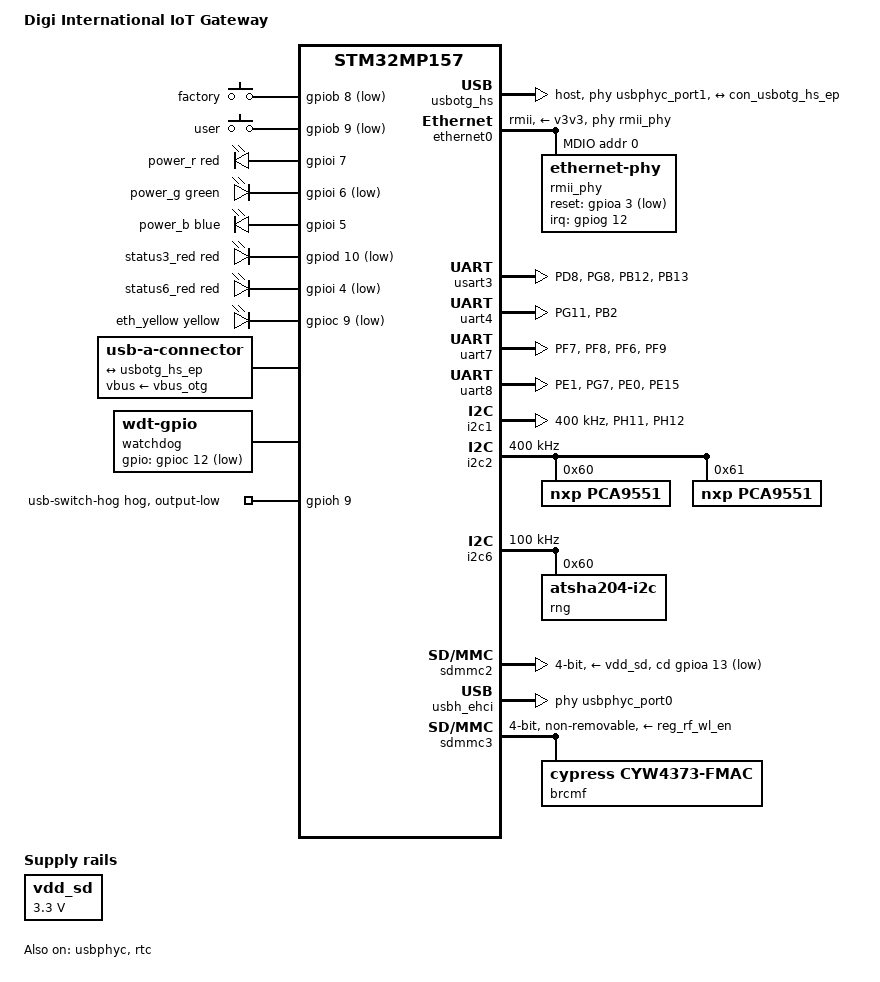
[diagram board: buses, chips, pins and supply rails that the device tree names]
/*
* Copyright 2024, Digi International Inc.
*
* Permission to use, copy, modify, and/or distribute this software for any
* purpose with or without fee is hereby granted, provided that the above
* copyright notice and this permission notice appear in all copies.
* THE SOFTWARE IS PROVIDED "AS IS" AND THE AUTHOR DISCLAIMS ALL WARRANTIES
* WITH REGARD TO THIS SOFTWARE INCLUDING ALL IMPLIED WARRANTIES OF
* MERCHANTABILITY AND FITNESS. IN NO EVENT SHALL THE AUTHOR BE LIABLE FOR
* ANY SPECIAL, DIRECT, INDIRECT, OR CONSEQUENTIAL DAMAGES OR ANY DAMAGES
* WHATSOEVER RESULTING FROM LOSS OF USE, DATA OR PROFITS, WHETHER IN AN
* ACTION OF CONTRACT, NEGLIGENCE OR OTHER TORTIOUS ACTION, ARISING OUT OF
* OR IN CONNECTION WITH THE USE OR PERFORMANCE OF THIS SOFTWARE.
*/

/dts-v1/;

/* STM32MP157 CPU */
#include "stm32mp157.dtsi"
#include "stm32mp151-dey-changes.dtsi"
#include "stm32mp15xa.dtsi"
#include "stm32mp15-pinctrl.dtsi"
#include "stm32mp15xxac-pinctrl.dtsi"
#include "stm32mp15-scmi.dtsi"
/* Digi ConnectCore CCMP15 */
#include "ccmp15.dtsi"
#include <dt-bindings/input/input.h>
#include <dt-bindings/leds/common.h>
#include <dt-bindings/leds/leds-pca955x.h>

/*
 * Quick reference:
 * usart1: BT_UART (*)
 * usart3: XBEE1
 * uart4: CONSOLE (*)
 * uart7: UART (RS-232/RS-485)
 * uart8: XBEE2
 * i2c1: I2C_USER (SDA=PH12 AF5, SCL=PH11 AF5)
 * i2c2: I2C_INT (status LEDs, and TBD)
 * i2c4: PMIC (*)
 * i2c6: ATECC
 * sdmmc2: micro SD
 * sdmmc3: Wi-Fi (*)
 * eth1: 10/100 Ethernet (* - ethernet0)
 * USB host: Connected to "XBee 2" (for XBee 3 Cellular)
 * USB OTG: Connected to USB-A port if USB_USER#/FW is high and USB_OTG_SW_OE# is low.
 *          Connected to microUSB/TAG-Connect if USB_USER#/FW is low and USB_OTG_SW_OE# is low.
 *          Disconnected if USB_OTG_SW_OE# is driven high.
 * Items marked (*) are standard as defined in ccmp15.dtsi.
 */

#if 1
// Make it easier to tell which peripheral is which
#define DIGI_COMMENT(text) digi,comment = text
#else
#define DIGI_COMMENT(text)
#endif

/ {
	model = "Digi International IoT Gateway";
	compatible = "digi,iot-gateway";
	digi,machine,name = "iot-gateway";

	chosen {
		stdout-path = "serial0:115200n8";
	};

	aliases {
		ethernet0 = &ethernet0;
		mmc1 = &sdmmc2; /* Micro SD */
		serial0 = &uart4; /* CONSOLE */
		serial1 = &usart1; /* BT_UART */
		serial2 = &usart3; /* XBEE1 */
		serial3 = &uart8; /* XBEE2 */
		serial4 = &uart7; /* RS-232/485 */
	};

	gpio-keys {
		compatible = "gpio-keys";

		factory-button {
			label = "factory";
			linux,code = <KEY_DELETE>;
			gpios = <&gpiob 8 GPIO_ACTIVE_LOW>;
			// TODO: pinctrl
		};

		user-button {
			label = "user";
			linux,code = <KEY_SELECT>;
			gpios = <&gpiob 9 GPIO_ACTIVE_LOW>;
			// TODO: pinctrl
		};
	};

	leds {
		compatible = "gpio-leds";

		/* NOTE: Supplying color and function here lets the kernel
		 * automatically name these e.g. "red:power" in sysfs. */
		power_r {
			color = <LED_COLOR_ID_RED>;
			function = LED_FUNCTION_POWER;
			gpios = <&gpioi 7 GPIO_ACTIVE_HIGH>; /* LGA_A14, LTDC_B7 */
		};
		power_g {
			color = <LED_COLOR_ID_GREEN>;
			function = LED_FUNCTION_POWER;
			/*
			 * This line controls a MOSFET which in turn controls the MOSFET
			 * giving this color a path to GND. The second MOSFET's gate
			 * is pulled up (so green is on by default). Thus, from the
			 * chip's perspective, green is active low, since driving this high
			 * will switch it off.
			 */
			gpios = <&gpioi 6 GPIO_ACTIVE_LOW>; /* LGA_A20, LTDC_B6 */
		};
		power_b {
			color = <LED_COLOR_ID_BLUE>;
			function = LED_FUNCTION_POWER;
			gpios = <&gpioi 5 GPIO_ACTIVE_HIGH>; /* LGA_A17, LTDC_B5 */
			default-state = "on";
		};
		status3_red {
			color = <LED_COLOR_ID_RED>;
			function = LED_FUNCTION_STATUS;
			function-enumerator = <3>;
			gpios = <&gpiod 10 (GPIO_ACTIVE_LOW | GPIO_OPEN_DRAIN)>; /* LGA_A10, LTDC_B3 */
		};
		status6_red {
			color = <LED_COLOR_ID_RED>;
			function = LED_FUNCTION_STATUS;
			function-enumerator = <6>;
			gpios = <&gpioi 4 (GPIO_ACTIVE_LOW | GPIO_OPEN_DRAIN)>; /* LGA_A12, LTDC_B4 */
		};
		eth_yellow {
			color = <LED_COLOR_ID_YELLOW>;
			function = LED_FUNCTION_LAN;
			gpios = <&gpioc 9 (GPIO_ACTIVE_LOW | GPIO_OPEN_DRAIN)>;
			trigger-sources = <&ethernet0>;
			linux,default-trigger = "stmmac-0:00:link";
		};
	};

	usb_phy_tuning: usb-phy-tuning {
		st,hs-dc-level = <2>;
		st,fs-rftime-tuning;
		st,hs-rftime-reduction;
		st,hs-current-trim = <15>;
		st,hs-impedance-trim = <1>;
		st,squelch-level = <3>;
		st,hs-rx-offset = <2>;
		st,no-lsfs-sc;
	};

	usb-a-connector {
		compatible = "usb-a-connector";
		// id-gpios = <&gpioa 10 GPIO_ACTIVE_HIGH>; /* LGA_AA13, USB_OTG_ID - wired to GND */
		// No vbus-gpios - wired directly to OTG_VBUS line of MPU
		vbus-supply = <&vbus_otg>;

		port {
			con_usbotg_hs_ep: endpoint {
				remote-endpoint = <&usbotg_hs_ep>;
			};
		};
	};

	watchdog {
		/* STWD100NYWY3F */
		compatible = "linux,wdt-gpio";
		gpios = <&gpioc 12 GPIO_ACTIVE_LOW>; /* LGA_W15 */
		hw_algo = "toggle";
		hw_margin_ms = <1000>; /* tWD 1.12 to 2.24s, typical 1.6s */
		always-running;
	};
};
/delete-node/ &gpu_reserved;

/*
 * Modify the cpu0_opp_table to delete the "opp-supported-hw" property.
 *
 * This value is set by the optional stm32-cpufreq driver.
 * Since we do not plan on changing the cpu frequencies of the chip,
 * we are NOT using that driver.
 * Because it is not being used, the "opp-supported-hw" entry is
 * not needed, and must be removed.
 */
&cpu0_opp_table {
	opp-650000000 {
		/delete-property/ opp-supported-hw;
	};
};

&gpiob {
	/* PB8: SW_ERASE. PB9: SW_USER. */
	gpio-line-names = "", "", "", "", "", "", "", "",
			  "factory", "user_button", "", "", "", "", "", "";
};
&gpiod {
	/* PD3: DEV/nPROD. */
	gpio-line-names = "", "", "", "developer", "", "", "", "",
			  "", "", "", "", "", "", "", "";
};
&gpiof {
	/* PF10: XBEE2_PWR_EN. */
	gpio-line-names = "", "", "", "", "", "", "", "",
			  "", "", "XBEE2_PWR_EN", "", "", "", "", "";
};
&gpiog {
	/* PG0: XBEE1_PWR_EN. PG2: XBEE1_nRST. */
	gpio-line-names = "XBEE1_PWR_EN", "", "XBEE1_nRST", "", "", "", "", "",
			  "", "", "", "", "", "", "", "";
};
&gpioh {
	/* PH8: XBEE2_nRST. PH9: USB_USER#/FW. PH10: USB_OTG_SW_OE#. */
	gpio-line-names = "", "", "", "", "", "", "", "",
			  "XBEE2_nRST", "USB_nUSER_FW", "USB_OTG_SW_nOE", "", "", "", "", "";
	usb-switch-hog {
		gpio-hog;
		gpios = <9 GPIO_OPEN_DRAIN>;
		output-low;
	};
};

&usbotg_hs {
	dr_mode = "host";
};

/* TODO: Overlay to enable usart1 (Bluetooth) if wireless variant */
/* USART1 (Bluetooth) */
&usart1 {
	// status = "okay";
	DIGI_COMMENT("ble");
};

/* 10/100 Ethernet */
&ethernet0 {
	status = "okay";
	pinctrl-names = "default", "sleep";
	pinctrl-0 = <&ethernet0_rmii_pins_c>;
	pinctrl-1 = <&ethernet0_rmii_sleep_pins_c>;
	phy-mode = "rmii";
	max-speed = <100>;
	phy-handle = <&rmii_phy>;
	phy-supply = <&v3v3>;
	// TODO?!?! How do we define which pin the clock comes in on?
	st,ext-phyclk;

	mdio0 {
		#address-cells = <1>;
		#size-cells = <0>;
		compatible = "snps,dwmac-mdio";

		/* Microchip KSZ8081RNA PHY */
		rmii_phy: ethernet-phy@0 {
			reg = <0>;
			interrupts-extended = <&gpiog 12 IRQ_TYPE_LEVEL_LOW>; /* LGA_Y3, LTDC_B1 */
			reset-gpios = <&gpioa 3 GPIO_ACTIVE_LOW>; /* LGA_A18, LTDC_B2 */
			reset-assert-us = <10000>;
			reset-deassert-us = <300>;
		};
	};
};

/* SMT XBee */
&usart3 {
	pinctrl-names = "default", "sleep", "idle", "no-hw-flowctrl", "gpio";
	pinctrl-0 = <&ccmp15_usart3_pins>;
	pinctrl-1 = <&ccmp15_usart3_sleep_pins>;
	pinctrl-2 = <&ccmp15_usart3_idle_pins>;
	pinctrl-3 = <&ccmp15_usart3_no_hw_flowctrl_pins>;
	pinctrl-4 = <&ccmp15_usart3_gpio_pins>;
	uart-has-rtscts;
	digi,long-break;
	digi,no-hw-flowctrl;
	// Controlled as GPIO when RTS state is set manually (rtscts disabled).
	digi,rts-gpios = <&gpiog 8 GPIO_ACTIVE_LOW>; /* LGA_N21, USART3_RTS */
	// TODO: Confirm this means if we deassert DTR, it's driven or pulled high.
	dtr-gpios = <&gpiob 10 GPIO_ACTIVE_LOW>; /* LGA_J21, ETH1_RX_ER */
	status = "okay";
	DIGI_COMMENT("xbee1");
};

&spi4 {
	pinctrl-names = "default", "sleep";
	pinctrl-0 = <&spi4_pins_b>;
	pinctrl-1 = <&spi4_sleep_pins_b>;
	cs-gpios = <&gpioe 11 GPIO_ACTIVE_LOW>; /* LGA_Y9, SPI4_NSS */
	status = "disabled"; /* Disabled until needed */
	DIGI_COMMENT("xbee1_SPI");

	spidev@0 {
		compatible = "rohm,dh2228fv";
		reg = <0>; /* CS #0 */
		spi-max-frequency = <50000000>;
	};
};

/* Console */
&uart4 {
	pinctrl-names = "default", "sleep", "idle";
	pinctrl-0 = <&ccmp15_uart4_pins_a>;
	pinctrl-1 = <&uart4_sleep_pins_a>;
	pinctrl-2 = <&ccmp15_uart4_idle_pins_a>;
	/delete-property/dmas;
	/delete-property/dma-names;
	status = "okay";
	DIGI_COMMENT("console");
};

/* RS-232/RS-485 */
&uart7 {
	// TODO(LCG-603): Switching between 232 and 485
	linux,rs485-enabled-at-boot-time;
	pinctrl-names = "default", "sleep", "idle", "no-hw-flowctrl", "gpio";
	pinctrl-0 = <&ccmp15_uart7_pins>;
	pinctrl-1 = <&ccmp15_uart7_sleep_pins>;
	pinctrl-2 = <&ccmp15_uart7_idle_pins>;
	pinctrl-3 = <&ccmp15_uart7_no_hw_flowctrl_pins>;
	pinctrl-4 = <&ccmp15_uart7_gpio_pins>;
	uart-has-rtscts;
	digi,long-break;
	digi,no-hw-flowctrl;
	// Controlled as GPIO when RTS state is set manually (rtscts disabled).
	digi,rts-gpios = <&gpiof 8 GPIO_ACTIVE_LOW>; /* LGA_P19, UART7_RTS */
	// TODO: Are we supposed to call these out in pinctrl?
	dsr-gpios = <&gpioc 3 GPIO_ACTIVE_LOW>; /* LGA_V19 */
	dcd-gpios = <&gpiob 0 GPIO_ACTIVE_LOW>; /* LGA_U20 */
	dtr-gpios = <&gpiob 6 GPIO_ACTIVE_LOW>; /* LGA_U19 */
	rng-gpios = <&gpioc 11 GPIO_ACTIVE_LOW>; /* LGA_T19 */

	// TODO: RS485_TERM - kernel seems to support defining rs485-term-gpios,
	// but no existing .dts files appear to use that.
	status = "okay";
	DIGI_COMMENT("rs232,485");
};

/* XBee 2 (TH or SMT) */
&uart8 {
	pinctrl-names = "default", "sleep", "idle", "no-hw-flowctrl", "gpio";
	pinctrl-0 = <&ccmp15_uart8_pins>;
	pinctrl-1 = <&ccmp15_uart8_sleep_pins>;
	pinctrl-2 = <&ccmp15_uart8_idle_pins>;
	pinctrl-3 = <&ccmp15_uart8_no_hw_flowctrl_pins>;
	pinctrl-4 = <&ccmp15_uart8_gpio_pins>;
	uart-has-rtscts;
	digi,long-break;
	digi,no-hw-flowctrl;
	// Controlled as GPIO when RTS state is set manually (rtscts disabled).
	digi,rts-gpios = <&gpiog 7 GPIO_ACTIVE_LOW>; /* LGA_C21, LTDC_CLK */
	// TODO: Confirm this means if we deassert DTR, it's driven or pulled high.
	dtr-gpios = <&gpioi 10 GPIO_ACTIVE_LOW>; /* LGA_B21, LTDC_HSYNC */
	status = "okay";
	DIGI_COMMENT("xbee2");
};

/* I2C_USER: Grove connector */
&i2c1 {
	// TODO: rising/falling time, ...
	clock-frequency = <400000>;
	pinctrl-names = "default", "sleep";
	pinctrl-0 = <&i2c1_pins>;
	pinctrl-1 = <&i2c1_sleep_pins>;
	i2c-scl-rising-time-ns = <185>;
	i2c-scl-falling-time-ns = <20>;
	status = "okay";
	/* spare dmas for other usage */
	/delete-property/dmas;
	/delete-property/dma-names;
	DIGI_COMMENT("I2C_USER");

	// NOTE: No hardcoded devices expected - userspace only.
};

/* I2C_INT */
&i2c2 {
	// TODO: rising/falling time, ...
	clock-frequency = <400000>;
	pinctrl-names = "default", "sleep";
	pinctrl-0 = <&i2c2_pins_a>;
	pinctrl-1 = <&i2c2_sleep_pins_a>;
	i2c-scl-rising-time-ns = <185>;
	i2c-scl-falling-time-ns = <20>;
	status = "okay";
	/* spare dmas for other usage */
	/delete-property/dmas;
	/delete-property/dma-names;
	DIGI_COMMENT("I2C_INT");

	/* STATUS(n, BLUE, x) will become "blue:status-n" in sysfs */
	#define STATUS(func_enum, color_, reg_val) \
		led@reg_val { \
			reg = <reg_val>; default-state = "keep"; type = <PCA955X_TYPE_LED>; \
			function = LED_FUNCTION_STATUS; function-enumerator = <func_enum>; \
			color = <LED_COLOR_ID_ ## color_>; \
		}
	/* NOTE: Schematic says slave address 0xC0 (0x60 << 1) */
	pca9551@60 {
		compatible = "nxp,pca9551";
		reg = <0x60>;
		#address-cells = <1>;
		#size-cells = <0>;

		gpio-controller;
		#gpio-cells = <2>;

		STATUS(1, BLUE, 0);
		STATUS(1, GREEN, 1);
		STATUS(1, RED, 2);
		STATUS(2, BLUE, 3);
		STATUS(2, GREEN, 4);
		STATUS(2, RED, 5);
		STATUS(3, BLUE, 6);
		STATUS(3, GREEN, 7);
		/* status3_red is driven directly */
	};

	pca9551@61 {
		compatible = "nxp,pca9551";
		reg = <0x61>;
		#address-cells = <1>;
		#size-cells = <0>;

		gpio-controller;
		#gpio-cells = <2>;

		STATUS(4, BLUE, 0);
		STATUS(4, GREEN, 1);
		STATUS(4, RED, 2);
		STATUS(5, BLUE, 3);
		STATUS(5, GREEN, 4);
		STATUS(5, RED, 5);
		STATUS(6, BLUE, 6);
		STATUS(6, GREEN, 7);
		/* status6_red is driven directly */
	};
};

/* I2C bus for ATECC chip */
&i2c6 {
	clock-frequency = <100000>;
	// TODO: Is our sleep state correct for the ATECC chip?
	pinctrl-names = "default", "sleep";
	pinctrl-0 = <&ccmp15_i2c6_pins_a>;
	pinctrl-1 = <&ccmp15_i2c6_sleep_pins_a>;
	i2c-scl-rising-time-ns = <185>;
	i2c-scl-falling-time-ns = <20>;
	status = "okay";
	/* spare dmas for other usage */
	/delete-property/dmas;
	/delete-property/dma-names;
	DIGI_COMMENT("atecc");

	rng: atecc508a@60 {
		compatible = "atsha204-i2c";
		reg = <0x60>;
	};
};

/* Per Brad F, this should be 3.3V */
&vdd_sd {
	regulator-min-microvolt = <3300000>;
	regulator-max-microvolt = <3300000>;
};

/* Micro SD */
&sdmmc2 {
	pinctrl-names = "default", "opendrain", "sleep";
	pinctrl-0 = <&sdmmc2_b4_pins_a>;
	pinctrl-1 = <&sdmmc2_b4_od_pins_a>;
	pinctrl-2 = <&sdmmc2_b4_sleep_pins_a>;
	cd-gpios = <&gpioa 13 GPIO_ACTIVE_LOW>; /* LGA_W1 */
	disable-wp;
	st,neg-edge;
	bus-width = <4>;
	no-1-8-v;
	vmmc-supply = <&vdd_sd>;
	status = "okay";
};

&usbh_ehci {
	phys = <&usbphyc_port0>;
	phy-names = "usb";
	status = "okay";
};

&usbotg_hs {
	phys = <&usbphyc_port1 0>;
	phy-names = "usb2-phy";
	// usb-role-switch; // TODO - always function as host...
	status = "okay";

	port {
		usbotg_hs_ep: endpoint {
			remote-endpoint = <&con_usbotg_hs_ep>;
		};
	};
};

&usbphyc {
	status = "okay";
};

&usbphyc_port0 {
	phy-supply = <&vdd_usb>;
	st,phy-tuning = <&usb_phy_tuning>;
};

&usbphyc_port1 {
	phy-supply = <&vdd_usb>;
	st,phy-tuning = <&usb_phy_tuning>;
};

// TODO: sim-mux entries?
&pinctrl {

	// USART3: SMT XBee
	ccmp15_usart3_pins: usart3-1 {
		pins1 {
			pinmux = <STM32_PINMUX('D', 8, AF7)>, /* USART3_TX */
				 <STM32_PINMUX('G', 8, AF8)>; /* USART3_RTS */
			bias-disable;
			drive-push-pull;
			slew-rate = <0>;
		};
		pins2 {
			pinmux = <STM32_PINMUX('B', 12, AF8)>; /* USART3_RX */
			bias-pull-up;
		};
		pins3 {
			pinmux = <STM32_PINMUX('B', 13, AF7)>; /* USART3_CTS_NSS */
			bias-disable;
		};
	};

	ccmp15_usart3_idle_pins: usart3-idle-1 {
		pins1 {
			pinmux = <STM32_PINMUX('D', 8, ANALOG)>, /* USART3_TX */
				 <STM32_PINMUX('B', 13, ANALOG)>; /* USART3_CTS_NSS */
		};
		pins2 {
			pinmux = <STM32_PINMUX('G', 8, AF8)>; /* USART3_RTS */
			bias-disable;
			drive-push-pull;
			slew-rate = <0>;
		};
		pins3 {
			pinmux = <STM32_PINMUX('B', 12, AF8)>; /* USART3_RX */
			bias-disable;
		};
	};

	ccmp15_usart3_sleep_pins: usart3-sleep-1 {
		pins {
			pinmux = <STM32_PINMUX('D', 8, ANALOG)>, /* USART3_TX */
				 <STM32_PINMUX('G', 8, ANALOG)>, /* USART3_RTS */
				 <STM32_PINMUX('B', 13, ANALOG)>, /* USART3_CTS_NSS */
				 <STM32_PINMUX('B', 12, ANALOG)>; /* USART3_RX */
		};
	};

	ccmp15_usart3_no_hw_flowctrl_pins: usart3-no-hw-flowctrl-0 {
		// RTS is being driven manually by an application.
		pins1 {
			pinmux = <STM32_PINMUX('D', 8, AF7)>; /* USART3_TX */
			bias-disable;
			drive-push-pull;
			slew-rate = <0>;
		};
		pins2 {
			pinmux = <STM32_PINMUX('B', 12, AF8)>; /* USART3_RX */
			bias-pull-up;
		};
		pins3 {
			pinmux = <STM32_PINMUX('B', 13, AF7)>; /* USART3_CTS_NSS */
			bias-disable;
		};
	};

	ccmp15_usart3_gpio_pins: usart3-gpio-0 {
		// In "gpio" mode (digi,long-break), drive TX low but keep
		// RX pulled up so we don't errantly read a break condition.
		pins1 {
			pinmux = <STM32_PINMUX('D', 8, GPIO)>; /* USART3_TX */
			drive-push-pull;
			output-low;
			slew-rate = <0>;
		};
		pins2 {
			pinmux = <STM32_PINMUX('B', 12, AF8)>; /* USART3_RX */
			bias-pull-up;
		};
	};

	// TODO: Would it make sense to split these out to a shared file, since
	// they are identical to CCMP157-DVK?
	// UART4: CONSOLE
	ccmp15_uart4_pins_a: ccmp15_uart4-0 {
		pins1 {
			pinmux = <STM32_PINMUX('G', 11, AF6)>; /* UART4_TX */
			bias-disable;
			drive-push-pull;
			slew-rate = <0>;
		};
		pins2 {
			pinmux = <STM32_PINMUX('B', 2, AF8)>; /* UART4_RX */
			bias-pull-up;
		};
	};

	ccmp15_uart4_idle_pins_a: ccmp15_uart4-idle-0 {
		pins1 {
			pinmux = <STM32_PINMUX('G', 11, ANALOG)>; /* UART4_TX */
		};
		pins2 {
			pinmux = <STM32_PINMUX('B', 2, AF8)>; /* UART4_RX */
			bias-pull-up;
		};
	};

	// UART7: RS-232/RS-485
	ccmp15_uart7_pins: uart7-1 {
		pins1 {
			pinmux = <STM32_PINMUX('F', 7, AF7)>, /* UART7_TX */
				 <STM32_PINMUX('F', 8, AF7)>; /* UART7_RTS */
			bias-disable;
			drive-push-pull;
			slew-rate = <0>;
		};
		pins2 {
			pinmux = <STM32_PINMUX('F', 6, AF7)>; /* UART7_RX */
			bias-pull-up;
		};
		pins3 {
			pinmux = <STM32_PINMUX('F', 9, AF7)>; /* UART7_CTS */
			bias-disable;
		};
	};

	ccmp15_uart7_idle_pins: uart7-idle-1 {
		pins1 {
			pinmux = <STM32_PINMUX('F', 7, ANALOG)>, /* UART7_TX */
				 <STM32_PINMUX('F', 9, ANALOG)>; /* UART7_CTS */
		};
		pins2 {
			pinmux = <STM32_PINMUX('F', 8, AF7)>; /* UART7_RTS */
			bias-disable;
			drive-push-pull;
			slew-rate = <0>;
		};
		pins3 {
			pinmux = <STM32_PINMUX('F', 6, AF7)>; /* UART7_RX */
			bias-disable;
		};
	};

	ccmp15_uart7_sleep_pins: uart7-sleep-1 {
		pins {
			pinmux = <STM32_PINMUX('F', 7, ANALOG)>, /* UART7_TX */
				 <STM32_PINMUX('F', 8, ANALOG)>, /* UART7_RTS */
				 <STM32_PINMUX('F', 9, ANALOG)>, /* UART7_CTS */
				 <STM32_PINMUX('F', 6, ANALOG)>; /* UART7_RX */
		};
	};

	ccmp15_uart7_no_hw_flowctrl_pins: uart7-no-hw-flowctrl-0 {
		// RTS is being driven manually by an application.
		pins1 {
			pinmux = <STM32_PINMUX('F', 7, AF7)>; /* UART7_TX */
			bias-disable;
			drive-push-pull;
			slew-rate = <0>;
		};
		pins2 {
			pinmux = <STM32_PINMUX('F', 6, AF7)>; /* UART7_RX */
			bias-pull-up;
		};
		pins3 {
			pinmux = <STM32_PINMUX('F', 9, AF7)>; /* UART7_CTS_NSS */
			bias-disable;
		};
	};

	ccmp15_uart7_gpio_pins: uart7-gpio-0 {
		// In "gpio" mode (digi,long-break), drive TX low but keep
		// RX pulled up so we don't errantly read a break condition.
		pins1 {
			pinmux = <STM32_PINMUX('F', 7, GPIO)>; /* UART7_TX */
			drive-push-pull;
			output-low;
			slew-rate = <0>;
		};
		pins2 {
			pinmux = <STM32_PINMUX('F', 6, AF7)>; /* UART7_RX */
			bias-pull-up;
		};
	};

	// UART8: TH/SMT XBee ("XBee 2")
	ccmp15_uart8_pins: uart8-1 {
		pins1 {
			pinmux = <STM32_PINMUX('E', 1, AF8)>, /* UART8_TX */
				 <STM32_PINMUX('G', 7, AF8)>; /* UART8_RTS */
			bias-disable;
			drive-push-pull;
			slew-rate = <0>;
		};
		pins2 {
			pinmux = <STM32_PINMUX('E', 0, AF8)>; /* UART8_RX */
			bias-pull-up;
		};
		pins3 {
			pinmux = <STM32_PINMUX('E', 15, AF8)>; /* UART8_CTS */
			bias-disable;
		};
	};

	ccmp15_uart8_idle_pins: uart8-idle-1 {
		pins1 {
			pinmux = <STM32_PINMUX('E', 1, ANALOG)>, /* UART8_TX */
				 <STM32_PINMUX('E', 15, ANALOG)>; /* UART8_CTS */
		};
		pins2 {
			pinmux = <STM32_PINMUX('G', 7, AF8)>; /* UART8_RTS */
			bias-disable;
			drive-push-pull;
			slew-rate = <0>;
		};
		pins3 {
			pinmux = <STM32_PINMUX('E', 0, AF8)>; /* UART8_RX */
			bias-disable;
		};
	};

	ccmp15_uart8_sleep_pins: uart8-sleep-1 {
		pins {
			pinmux = <STM32_PINMUX('E', 1, ANALOG)>, /* UART8_TX */
				 <STM32_PINMUX('G', 7, ANALOG)>, /* UART8_RTS */
				 <STM32_PINMUX('E', 15, ANALOG)>, /* UART8_CTS */
				 <STM32_PINMUX('E', 0, ANALOG)>; /* UART8_RX */
		};
	};

	ccmp15_uart8_no_hw_flowctrl_pins: uart8-no-hw-flowctrl-0 {
		// RTS is being driven manually by an application.
		pins1 {
			pinmux = <STM32_PINMUX('E', 1, AF8)>; /* UART8_TX */
			bias-disable;
			drive-push-pull;
			slew-rate = <0>;
		};
		pins2 {
			pinmux = <STM32_PINMUX('E', 0, AF8)>; /* UART8_RX */
			bias-pull-up;
		};
		pins3 {
			pinmux = <STM32_PINMUX('E', 15, AF8)>; /* UART8_CTS */
			bias-disable;
		};
	};

	ccmp15_uart8_gpio_pins: uart8-gpio-0 {
		// In "gpio" mode (digi,long-break), drive TX low but keep
		// RX pulled up so we don't errantly read a break condition.
		pins1 {
			pinmux = <STM32_PINMUX('E', 1, GPIO)>; /* UART8_TX */
			drive-push-pull;
			output-low;
			slew-rate = <0>;
		};
		pins2 {
			pinmux = <STM32_PINMUX('E', 0, AF8)>; /* UART8_RX */
			bias-pull-up;
		};
	};

	// i2c1: I2C_USER (Grove header)
	i2c1_pins: i2c1-0 {
		pins {
			pinmux = <STM32_PINMUX('H', 11, AF5)>, /* LGA_B9, I2C1_SCL */
				 <STM32_PINMUX('H', 12, AF5)>; /* LGA_W10, I2C1_SDA */
			bias-disable;
			drive-open-drain;
			slew-rate = <0>;
		};
	};

	i2c1_sleep_pins: i2c1-sleep-0 {
		pins {
			pinmux = <STM32_PINMUX('H', 11, ANALOG)>, /* LGA_B9, I2C1_SCL */
				 <STM32_PINMUX('H', 12, ANALOG)>; /* LGA_W10, I2C1_SDA */
		};
	};

	rtc_out2_rmp_pins_a: rtc-out2-rmp-pins-0 {
		pins {
			pinmux = <STM32_PINMUX('I', 8, ANALOG)>; /* RTC_OUT2_RMP */
		};
	};
};

&pinctrl_z {
	// TODO: Would it make sense to split these out to a shared file, since
	// they are identical to CCMP157-DVK?
	ccmp15_i2c6_pins_a: ccmp15_i2c6-0 {
		pins {
			pinmux = <STM32_PINMUX('Z', 0, AF2)>, /* I2C6_SCL */
				 <STM32_PINMUX('Z', 3, AF2)>; /* I2C6_SDA */
			bias-disable;
			drive-open-drain;
			slew-rate = <0>;
		};
	};

	ccmp15_i2c6_sleep_pins_a: ccmp15_i2c6-sleep-0 {
		pins {
			pinmux = <STM32_PINMUX('Z', 0, ANALOG)>, /* I2C6_SCL */
				 <STM32_PINMUX('Z', 3, ANALOG)>; /* I2C6_SDA */
		};
	};
};

/**************************************************************
 * Wireless
 **************************************************************/

/ {
	wireless {
		/* U-Boot will fill in the MAC address here */
	};
};

/* Enable the RF regulator */
&reg_3v3_rf {
	status = "okay";
};

/* Enable the WL regulator */
&reg_rf_wl_en {
	status = "okay";
};

/* Enable External 32kHz Low-Power Oscillator */
&rtc {
	st,lsco = <RTC_OUT2_RMP>;
	pinctrl-0 = <&ccmp15_rtc_out1_pins_a &rtc_out2_rmp_pins_a>;
	pinctrl-names = "default";
	status = "okay";
};

/* SDMMC3 (Wireless) */
&sdmmc3 {
	pinctrl-names = "default", "opendrain", "sleep";
	pinctrl-0 = <&sdmmc3_b4_pins_a>;
	pinctrl-1 = <&sdmmc3_b4_od_pins_a>;
	pinctrl-2 = <&sdmmc3_b4_sleep_pins_a>;
	non-removable;
	no-1-8-v;
	st,neg-edge;
	bus-width = <4>;
	vmmc-supply = <&reg_rf_wl_en>;
	status = "okay";

	brcmf {
		compatible = "cypress,cyw4373-fmac";
		brcm,broken_sg_support;
		brcm,sd_head_align = /bits/  16 <8>;
		brcm,sd_sgentry_align = /bits/ 16 <32>;
		status = "okay";
	};
};
